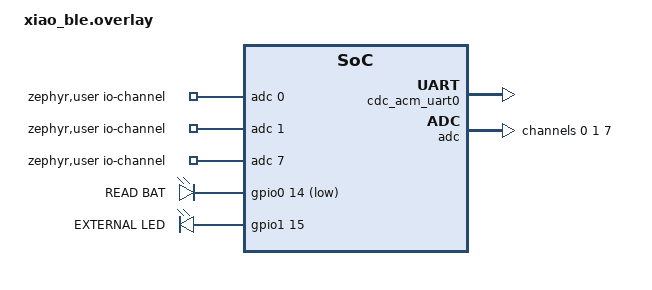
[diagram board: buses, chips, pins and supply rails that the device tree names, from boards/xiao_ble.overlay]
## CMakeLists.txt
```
#
#
#

#
# Options.
#

cmake_minimum_required(VERSION 3.20.0)

#
set(BOARD nrf52840dk_nrf52840)
# set(BOARD xiao_ble)

set(uav_operator GBR-OP-ABCD12345678)
set(uav_id ZZZZH1234567)
set(self_id CAA\ UAS\ 7068)
# ODID_UATYPE_AEROPLANE
set(odid_uatype ODID_UATYPE_NONE)
# ODID_CATEGORY_EU_UNDECLARED
set(odid_cat ODID_CATEGORY_EU_SPECIFIC)

## Added by Sandoche 
# Legacy DETs (suite 0x02, superseded): a46f (Context ID) and 73c6 (original "HHIT").
# set(det_ipv6 "0x20,0x01,0x00,0x30,0x3f,0xf8,0x04,0x02,0xa4,0x6f,0xb5,0x09,0xaf,0xce,0x2c,0xb0,0x00,0x00,0x00,0x00")
# set(det_ipv6 "0x20,0x01,0x00,0x30,0x3f,0xf8,0x04,0x02,0x73,0xc6,0x58,0x1c,0xcc,0xde,0x39,0x98,0x00,0x00,0x00,0x00")
# Active DET: RFC 9374 HHIT Suite 5 (EdDSA/cSHAKE128), deployed in DNS 2026-07-18.
set(det_ipv6 "0x20,0x01,0x00,0x30,0x3f,0xf8,0x04,0x05,0xd9,0x52,0x56,0x18,0xfb,0xc9,0xc3,0xcf,0x00,0x00,0x00,0x00")

# National/regional variations.
set(id_japan 0)
set(id_usa   0)

# Experimental.
set(spektrum   0)
set(batt_volts 0)

set(CMAKE_C_FLAGS   "-Wall -Wno-parentheses -Wno-deprecated-declarations")
set(CMAKE_CXX_FLAGS "-Wall -Wno-parentheses -Wno-deprecated-declarations")

#
# Build.
#

find_package(Zephyr REQUIRED HINTS $ENV{ZEPHYR_BASE})

project(remote_id_nrf52)

# Source files.

# Unix epoch (seconds) at configure time. The board has no RTC, so this is injected as the
# transmitter's real-time base: timestamps become ~real at flash without manual editing.
string(TIMESTAMP build_unix_time "%s" UTC)

configure_file(src/remote_id.h.in ${CMAKE_CURRENT_SOURCE_DIR}/src/remote_id.h)

set(c_sources src/opendroneid.c src/alt_unix_time.c)

set(cpp_sources src/main_nrf52.cpp src/gps2.cpp src/odid_bt.cpp)

if (${batt_volts})
  set(cpp_sources ${cpp_sources} src/battery.cpp)
endif()

if (${id_japan})
  set(cpp_sources ${cpp_sources} src/local.cpp)
endif()

if (${spektrum})
  set(cpp_sources ${cpp_sources} src/spektrum_i2c.cpp)
endif()

target_sources(app PRIVATE ${cpp_sources} ${c_sources})
```

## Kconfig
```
#
#

#config USB_DEVICE_PID
#	default USB_PID_CONSOLE_SAMPLE

source "Kconfig.zephyr"
```

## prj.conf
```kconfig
#
#
#

# So that we have some floating point support.
CONFIG_NEWLIB_LIBC=y

#CONFIG_USB_DEVICE_STACK=y
#CONFIG_USB_DEVICE_PRODUCT="Remote ID"
#CONFIG_USB_DEVICE_LOG_LEVEL_ERR=n
# 
#CONFIG_USB_DEVICE_VID=0x2fe3
#CONFIG_USB_DEVICE_PID=0x0004
# Emulate an FTDI.
# CONFIG_USB_DEVICE_VID=0x0403
# CONFIG_USB_DEVICE_PID=0x6001

CONFIG_LOG=n
# CONFIG_LOG_MODE_MINIMAL=y

CONFIG_SERIAL=y
CONFIG_CONSOLE=y
CONFIG_UART_CONSOLE=y
CONFIG_UART_INTERRUPT_DRIVEN=y
CONFIG_UART_LINE_CTRL=y
CONFIG_UART_USE_RUNTIME_CONFIGURE=y
CONFIG_STDOUT_CONSOLE=y

CONFIG_BT=y
CONFIG_BT_PERIPHERAL=n
CONFIG_BT_BROADCASTER=y
CONFIG_BT_OBSERVER=y
# CONFIG_BT_DEBUG_LOG=n

CONFIG_BT_CTLR_TX_PWR_PLUS_8=y
# CONFIG_BT_CTLR_TX_PWR_DYNAMIC_CONTROL=y

CONFIG_BT_EXT_ADV=y
CONFIG_BT_EXT_ADV_MAX_ADV_SET=3
# CONFIG_BT_CTLR=y
CONFIG_BT_CTLR_PHY_2M=n
CONFIG_BT_CTLR_PHY_CODED=y
CONFIG_BT_CTLR_ADV_EXT=y
# For message pack.
CONFIG_BT_CTLR_ADV_DATA_LEN_MAX=255

# For IDs with crypto auth.
#CONFIG_MBEDTLS_BUILTIN=y
#CONFIG_MBEDTLS_CFG_FILE="config-tls-generic.h"
#CONFIG_MBEDTLS_CIPHER_AES_ENABLED=y
#CONFIG_MBEDTLS_CIPHER_CCM_ENABLED=y
#CONFIG_MBEDTLS_CIPHER_MODE_CBC_ENABLED=y
#CONFIG_MBEDTLS_CIPHER=y
#CONFIG_MBEDTLS_MD=y
#CONFIG_CRYPTO=y
#CONFIG_CRYPTO_MBEDTLS_SHIM=y

#
CONFIG_FP16=y

# For reading the battery voltage.
CONFIG_ADC=y

# For the I2C slave.
# CONFIG_NRFX_TWIS1=y
CONFIG_STATIC_INIT_GNU=y


# PSA Crypto Ed25519 - nRF Security
CONFIG_NRF_SECURITY=y
CONFIG_PSA_CRYPTO_DRIVER_OBERON=y
CONFIG_PSA_WANT_ALG_PURE_EDDSA=y
CONFIG_PSA_WANT_KEY_TYPE_ECC_KEY_PAIR_IMPORT=y
CONFIG_PSA_WANT_ECC_TWISTED_EDWARDS_255=y

# Generate the drone signing key ON-DEVICE (not imported/hardcoded) and export only its public
# part. Ed25519 signing hashes with SHA-512 internally.
CONFIG_PSA_WANT_KEY_TYPE_ECC_KEY_PAIR_GENERATE=y
CONFIG_PSA_WANT_KEY_TYPE_ECC_PUBLIC_KEY=y
CONFIG_PSA_WANT_ALG_SHA_512=y
CONFIG_PSA_WANT_GENERATE_RANDOM=y

# --- Persistent PSA key storage (secure) --------------------------------------------------
# Makes the generated private key persist across reboots in encrypted storage, so it lives in
# secure storage instead of the firmware image. This block is the version-sensitive part of the
# nRF Connect SDK; adjust to match the `crypto/persistent_key_usage` sample of YOUR NCS version.
CONFIG_TRUSTED_STORAGE=y
CONFIG_HW_UNIQUE_KEY=y
CONFIG_HW_UNIQUE_KEY_RANDOM=y
CONFIG_FLASH=y
CONFIG_FLASH_MAP=y
CONFIG_NVS=y
CONFIG_SETTINGS=y
CONFIG_MPU_ALLOW_FLASH_WRITE=y

# RUNTIME STATUS (NCS v3.2.4): the build + boot are fine, but psa_generate_key() with a PERSISTENT
# lifetime returns -134 = PSA_ERROR_NOT_SUPPORTED (handled gracefully - the drone still emits). The
# PSA persistent-key / ITS backend is not fully wired yet. To enable it next time, align with the
# NCS `crypto/persistent_key_usage` sample; candidates to try (untested here):
#CONFIG_TRUSTED_STORAGE_BACKEND_AEAD=y
#CONFIG_HW_UNIQUE_KEY_WRITE_ON_CRYPTO_INIT=y
#CONFIG_SETTINGS_NVS=y
#CONFIG_PSA_WANT_ALG_HKDF=y
#CONFIG_PSA_WANT_ALG_GCM=y


CONFIG_HEAP_MEM_POOL_SIZE=16384
CONFIG_MBEDTLS_ENABLE_HEAP=y
CONFIG_MBEDTLS_HEAP_SIZE=8192


CONFIG_MAIN_STACK_SIZE=4096
CONFIG_SYSTEM_WORKQUEUE_STACK_SIZE=4096
```

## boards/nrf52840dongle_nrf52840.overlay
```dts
/*
 * SPDX-License-Identifier: Apache-2.0
 *
 * Copyright (c) 2022 Nordic Semiconductor ASA
 */


/ {
	zephyr,user {
		io-channels = <&adc 0>, <&adc 1>, <&adc 7>;
	};

	gpio_custom {
	  compatible = "gpio-leds";
	  status_led: status_led {
		gpios = <&gpio0 16 GPIO_ACTIVE_HIGH>;
		label = "EXTERNAL LED";
	  };
	};

	aliases {
	  statusled = &status_led;
	};
};

&zephyr_udc0 {
	cdc_acm_uart0 {
		compatible = "zephyr,cdc-acm-uart";
	};
};

&adc {
	#address-cells = <1>;
	#size-cells = <0>;

	channel@0 {
		reg = <0>;
		zephyr,gain = "ADC_GAIN_1_6";
		zephyr,reference = "ADC_REF_INTERNAL";
		zephyr,acquisition-time = <ADC_ACQ_TIME_DEFAULT>;
		zephyr,input-positive = <NRF_SAADC_AIN1>; /* P0.03 */
		zephyr,resolution = <12>;
	};

	channel@1 {
		reg = <1>;
		zephyr,gain = "ADC_GAIN_1_6";
		zephyr,reference = "ADC_REF_INTERNAL";
		zephyr,acquisition-time = <ADC_ACQ_TIME_DEFAULT>;
		zephyr,input-positive = <NRF_SAADC_VDD>;
		zephyr,resolution = <14>;
		zephyr,oversampling = <8>;
	};

	channel@7 {
		reg = <7>;
		zephyr,gain = "ADC_GAIN_1_5";
		zephyr,reference = "ADC_REF_VDD_1_4";
		zephyr,vref-mv = <750>;
		zephyr,acquisition-time = <ADC_ACQ_TIME_DEFAULT>;
		zephyr,input-positive = <NRF_SAADC_AIN6>; /* P0.30 */
		zephyr,input-negative = <NRF_SAADC_AIN7>; /* P0.31 */
		zephyr,resolution = <12>;
	};
};
```

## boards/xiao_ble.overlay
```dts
/* -*- tab-width: 4; mode: c; -*-
 *
 * Overlay for the Xiao nRF52.
 *
 */

/ {
	zephyr,user {
		io-channels = <&adc 0>, <&adc 1>, <&adc 7>;
	};

	gpio_custom {
	  compatible = "gpio-leds";
	  read_bat: read_bat {
		gpios = <&gpio0 14 GPIO_ACTIVE_LOW>;
		label = "READ BAT";
	  };
	  status_led: status_led {
		gpios = <&gpio1 15 GPIO_ACTIVE_HIGH>;
		label = "EXTERNAL LED";
	  };
	};

	aliases {
	  readbat = &read_bat;
	  statusled = &status_led;
	};
};

&zephyr_udc0 {
	cdc_acm_uart0 {
		compatible = "zephyr,cdc-acm-uart";
	};
};

&adc {
	#address-cells = <1>;
	#size-cells = <0>;

	channel@0 {
		reg = <0>;
		zephyr,gain = "ADC_GAIN_1_6";
		zephyr,reference = "ADC_REF_INTERNAL";
		zephyr,acquisition-time = <ADC_ACQ_TIME_DEFAULT>;
		zephyr,input-positive = <NRF_SAADC_AIN1>; /* P0.03 */
		zephyr,resolution = <12>;
	};

	channel@1 {
		reg = <1>;
		zephyr,gain = "ADC_GAIN_1_6";
		zephyr,reference = "ADC_REF_INTERNAL";
		zephyr,acquisition-time = <ADC_ACQ_TIME_DEFAULT>;
		zephyr,input-positive = <NRF_SAADC_VDD>;
		zephyr,resolution = <14>;
		zephyr,oversampling = <8>;
	};

	channel@7 {
		reg = <7>;
		zephyr,gain = "ADC_GAIN_1_6";
		zephyr,reference = "ADC_REF_INTERNAL";
		zephyr,acquisition-time = <ADC_ACQ_TIME_DEFAULT>;
		zephyr,input-positive = <NRF_SAADC_AIN7>; /* P0.31 */
		zephyr,resolution = <12>;
	};
};

/*
 * Overlay for TWI/IC2 Zephyr NCS implementation with nRFx TWIS Driver
 * Line references are used in the blog post and twis_node.txt
 */

&i2c1 {

  status = "disabled";
  sda-pin = <4>;
  scl-pin = <5>;
  interrupts = < 0x4 0x2 >;

  twis_device1:nRF52804@12 {
	label = "i2c nRF52840 addr a";
	reg = <0x12>;
  };

  twis_device2: nRF52840@0 {
	label = "i2c nRF52840 addr b";
	reg = <0x00>;
  };
};

&spi1 {
  status = "disabled";
};
```

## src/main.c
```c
#include <zephyr/kernel.h>
#include <zephyr/bluetooth/bluetooth.h>
#include <zephyr/bluetooth/hci.h>
#include <string.h>
#include "opendroneid.h"

// Définition de ton IPv6 brute (16 octets)
static const uint8_t ipv6_det = {
    0x20, 0x01, 0x00, 0x30, 0x3f, 0xf8, 0x04, 0x02, 
    0x01, 0x91, 0xab, 0x23, 0xcd, 0x45, 0xef, 0x67
};

static void bt_ready(int err)
{
    if (err) {
        printk("Erreur d'initialisation Bluetooth (err %d)\n", err);
        return;
    }
    printk("Bluetooth initialisé.\n");

    // 1. Préparation des données Basic ID
    ODID_BasicID_data basic_id;
    memset(&basic_id, 0, sizeof(ODID_BasicID_data));
    
    basic_id.UAType = ODID_UATYPE_HELICOPTER_OR_MULTIROTOR; // Type de drone (à adapter si besoin)
    basic_id.IDType = ODID_IDTYPE_SPECIFIC_SESSION_ID;      // Type 4 : Session ID spécifique (idéal pour IPv6/UUID)
    
    // Copie de ton IPv6 dans le champ UASID (qui fait 20 octets max)
    memcpy(basic_id.UASID, ipv6_det, sizeof(ipv6_det));

    // 2. Encodage du message OpenDroneID
    ODID_BasicID_encoded encoded_basic_id;
    memset(&encoded_basic_id, 0, sizeof(ODID_BasicID_encoded));
    encodeBasicIDMessage(&encoded_basic_id, &basic_id);

    // 3. Préparation du payload d'Advertising BLE
    // L'UUID 16-bit pour OpenDroneID (ASTM F3411) est 0xFFFA.
    // Dans le payload Service Data, les deux premiers octets sont l'UUID (Little Endian).
    uint8_t svc_data[2 + sizeof(ODID_BasicID_encoded)];
    svc_data = 0xFA; 
    svc_data = 0xFF; 
    memcpy(&svc_data, &encoded_basic_id, sizeof(ODID_BasicID_encoded));

    struct bt_data ad[] = {
        BT_DATA_BYTES(BT_DATA_FLAGS, (BT_LE_AD_GENERAL | BT_LE_AD_NO_BREDR)),
        BT_DATA(BT_DATA_SVC_DATA16, svc_data, sizeof(svc_data))
    };

    // 4. Lancement de l'émission (Advertising)
    err = bt_le_adv_start(BT_LE_ADV_NCONN, ad, ARRAY_SIZE(ad), NULL, 0);
    if (err) {
        printk("Erreur lors du démarrage de l'advertising (err %d)\n", err);
        return;
    }
    printk("Émission du DET en cours...\n");
}

int main(void)
{
    int err;
    printk("Démarrage de l'émulateur Remote ID...\n");

    err = bt_enable(bt_ready);
    if (err) {
        printk("Echec de l'activation Bluetooth (err %d)\n", err);
    }

    return 0;
}
```

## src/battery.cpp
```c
/* -*- tab-width: 2; mode: c; -*-
 *
 * A program for the nRF52840 to transmit ASTM F3411/ASD-STAN 4709-002/opendroneid 
 * remote identification signals over Bluetooth.
 * 
 * Copyright (c) 2023 Steve Jack
 *
 * Apache 2.0 licence
 *
 * Parts of this program are taken from samples which are
 * Copyright (c) Intel Corporation 
 * or
 * Copyright (c) Nordic Semiconductor
 *
 * Notes
 *
 * Needs a matching board overlay.
 *
 * This file typifies why I don't like Zephyr.
 * This should have taken 10 minutes. It took hours.
 * Poor documentation. Device tree. Fragile, opaque macros.
 * You have to find a sample that works, figure out how it
 * works and then extract the bits that you need (or just 
 * copy and hope). 
 *
 */

#include "odid_bt.h"

#include <zephyr/devicetree.h>
#include <zephyr/drivers/adc.h>

#if defined(CONFIG_BOARD_XIAO_BLE)
#define VBATT_CHANNEL            2
#define VBATT_CHANNEL_X          channel_7
static const float               calib_factor = 1510.0 / 510.0;
static const struct gpio_dt_spec read_bat = GPIO_DT_SPEC_GET(DT_ALIAS(readbat),gpios);
#elif defined(CONFIG_BOARD_NRF52840DONGLE_NRF52840)
#define VBATT_CHANNEL            1
#define VBATT_CHANNEL_X          channel_1
static const float               calib_factor = 1.0;
#else
#define VBATT_CHANNEL            1
#define VBATT_CHANNEL_X          channel_1
static const float               calib_factor = 1.0;
#endif

static const struct device      *adc_dev   = NULL;
static struct adc_dt_spec        vbatt_dt  = ADC_DT_SPEC_GET_BY_IDX(DT_PATH(zephyr_user),VBATT_CHANNEL);
// static struct adc_channel_cfg    vbatt_cfg = ADC_CHANNEL_CFG_DT(DT_CHILD(DT_NODELABEL(adc),VBATT_CHANNEL_X));
static struct adc_sequence       vbatt_seq;
static uint16_t                  results[4];

/*
 *
 */

float battery_voltage() {

  int        status;
  char       text[96];
  float      voltage = 0.5;
  int32_t    mV;
  static int status1, status2;

  if (!adc_dev) {

    if (adc_dev = DEVICE_DT_GET(DT_NODELABEL(adc))) {

      memset(results,0,sizeof(results));

      memset(&vbatt_seq,0,sizeof(vbatt_seq));
      vbatt_seq.channels     = 1 << vbatt_dt.channel_id;
      vbatt_seq.resolution   = vbatt_dt.resolution;
      vbatt_seq.oversampling = vbatt_seq.oversampling;
      vbatt_seq.buffer       = results;
      vbatt_seq.buffer_size  = sizeof(results);
    }
#if defined(CONFIG_BOARD_XIAO_BLE)
    gpio_pin_configure_dt(&read_bat,GPIO_OUTPUT_ACTIVE);
    gpio_pin_set_dt(&read_bat,1);
#endif
  }

  if (adc_dev) {

    if (status1 = adc_channel_setup(adc_dev,&vbatt_dt.channel_cfg)) {

      sprintf(text,"%s(): adc_channel_setup() returned %d",
              __func__,status1);
      txt_message(text,1,1,1);
    }

    if ((status2 = adc_read(adc_dev,&vbatt_seq)) == 0) {

      mV = results[0];

      if ((status = adc_raw_to_millivolts_dt(&vbatt_dt,&mV)) == 0) {
        voltage = calib_factor * 0.001 * (float) mV;
      } else {
        sprintf(text,"%s(): adc_raw_to_millivolts_dt(%u) returned %d, %u",
                __func__,(unsigned int) results[0],status,mV);
        txt_message(text,1,1,1);
        voltage = (float) ((double) results[0] * calib_factor);
      }

    } else {

      sprintf(text,"%s(): adc_read(%d) returned %d, (%d)",
              __func__,vbatt_dt.channel_id,status2,status1);
      txt_message(text,1,1,1);
    }
  }

  return voltage;
}

/*
 *
 */

/*
 *
 */
```

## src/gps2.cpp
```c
/* -*- tab-width: 2; mode: c; -*-
 *
 * A program for the nRF52840 to transmit ASTM F3411/ASD-STAN 4709-002/opendroneid 
 * remote identification signals over Bluetooth.
 * 
 * Copyright (c) 2023 Steve Jack
 *
 * Apache 2.0 licence
 *
 * Parts of this program are taken from samples which are
 * Copyright (c) Intel Corporation 
 * or
 * Copyright (c) Nordic Semiconductor
 *
 * Notes
 *
 *
 */

#pragma GCC diagnostic warning "-Wunused-variable"
#pragma GCC diagnostic ignored "-Wparentheses"
// #pragma GCC diagnostic ignored "-Wunused-but-set-variable"

#include "gps2.h"

#include <ctype.h>
#include <math.h>

#define BAUD_RATE      57600 // 9600 for initial configuration, 57600 thereafter.
#define GPS_RATE         200 // ms
#define RX_BUFFER_SIZE   512
#define TX_BUFFER_SIZE   128
#define CONFIG_PHASES     40

extern "C" {
  static void gps_rx_handler(const struct device *,void *);
  static void usb_rx_handler(const struct device *,void *);

  volatile void            *gps_dev2 = NULL;
  static volatile uint8_t   rx_buffer[RX_BUFFER_SIZE + 2];
  static volatile uint16_t  bg_rx_index = 0;
  static volatile uint32_t  rx_counter = 0;
};

/*
 *  I don't think that Zephyr actually calls this.
 *  Variable setup moved to begin().
 */

GPS2::GPS2() {

  return;
}

/*
 *
 */

void GPS2::begin(const struct device *uart,const struct device *usb_serial,const struct gpio_dt_spec *led) {

  int                 i;
  uint16_t            rate = GPS_RATE;
  uint32_t            baud = BAUD_RATE;
  struct uart_config  serial_config;
#if not GPS_PASSTHROUGH
  char                text[128];
#endif

  //
  // Initialise variables.
  //

  memset(parse_buffer,      0,sizeof(parse_buffer));
  memset((void *) rx_buffer,0,sizeof(rx_buffer));
  memset(&utc,              0,sizeof(utc));

  for (i = 0; i < MAX_SECTIONS + 1; ++i) {

    section[i] = parse_buffer;
  }

  parse_index   = max_parse_index   = 0;
  section_index = max_section_index = 0;
  
  // GPS commands.
  // Note that the payload indices below are offset by 4 from the Ublox literature.

  gps_protocols = 0x03; // Bit 0 Ublox, bit 1 NMEA.

  sprintf(nmea_cfg_uart1,"PUBX,41,1,%04x,%04x,%d,0",7,gps_protocols,(int) BAUD_RATE);

  memset(ubx_cfg_rate, 0,sizeof(ubx_cfg_rate));
  memset(ubx_cfg_prt,  0,sizeof(ubx_cfg_prt));
  memset(ubx_cfg_msg,  0,sizeof(ubx_cfg_msg));
  memset(ubx_cfg_nav5, 0,sizeof(ubx_cfg_nav5));
  memset(ubx_poll_nav5,0,sizeof(ubx_poll_nav5));

  ubx_cfg_rate[0]  = 0x06;
  ubx_cfg_rate[1]  = 0x08;
  ubx_cfg_rate[2]  = 0x06;
  ubx_cfg_rate[4]  = (uint8_t) (rate & 0xff);
  ubx_cfg_rate[5]  = (uint8_t) (rate >> 8);
  ubx_cfg_rate[6]  = 0x01;
  ubx_cfg_rate[8]  = 0x01;

  ubx_cfg_prt[0]   = 0x06;
  ubx_cfg_prt[2]   = 0x14;
  ubx_cfg_prt[4]   = 0x01;
  ubx_cfg_prt[8]   = 0xd0;
  ubx_cfg_prt[9]   = 0x08;
  ubx_cfg_prt[12]  = (uint8_t) (0xff &  baud);
  ubx_cfg_prt[13]  = (uint8_t) (0xff & (baud >>  8));
  ubx_cfg_prt[14]  = (uint8_t) (0xff & (baud >> 16));
  ubx_cfg_prt[16]  = 0x03;
  ubx_cfg_prt[18]  = gps_protocols;

  ubx_cfg_msg[0]   = 0x06;
  ubx_cfg_msg[1]   = 0x01;
  ubx_cfg_msg[2]   = 0x08;

  ubx_cfg_nav5[0]  = 0x06;
  ubx_cfg_nav5[1]  = 0x24;
  ubx_cfg_nav5[2]  = 0x24;
  ubx_cfg_nav5[4]  = 0x05;
  ubx_cfg_nav5[6]  = 0x07;
  ubx_cfg_nav5[7]  = 0x02;

  ubx_poll_nav5[0] = 0x06;
  ubx_poll_nav5[1] = 0x24;

  //
  // Initialise devices.
  //
  
  usb_dev    = (struct device *)       usb_serial;
  gps_dev    = (struct device *)       uart;
  gps_dev2   = (volatile void *)       uart;
  status_led = (struct gpio_dt_spec *) led;

  if (status_led) {

    gpio_pin_configure_dt(status_led,GPIO_OUTPUT_ACTIVE);
    gpio_pin_set_dt(status_led,0);
  }

  if ((!gps_dev)||(!usb_dev)) {
#if not GPS_PASSTHROUGH
    printk("%s(): No devices, aborting\n",__func__);
#endif
    return;
  }

  // USB
  
  status1 = uart_config_get(usb_dev,&serial_config);

  serial_config.baudrate  = 115200;
  serial_config.parity    = UART_CFG_PARITY_NONE;
  serial_config.data_bits = UART_CFG_DATA_BITS_8;
  serial_config.flow_ctrl = UART_CFG_FLOW_CTRL_NONE; 
  
  status2 = uart_configure(usb_dev,&serial_config);

#if GPS_PASSTHROUGH
  uart_irq_callback_user_data_set(usb_dev,usb_rx_handler,NULL);
  uart_irq_rx_enable(usb_dev);
#endif

  // GPS

  status1 = uart_config_get(gps_dev,&serial_config);
  
  serial_config.baudrate  = 9600;
  serial_config.parity    = UART_CFG_PARITY_NONE;
  serial_config.data_bits = UART_CFG_DATA_BITS_8;
  serial_config.flow_ctrl = UART_CFG_FLOW_CTRL_NONE; 
  status2 = uart_configure(gps_dev,&serial_config);

  uart_irq_callback_user_data_set(gps_dev,gps_rx_handler,NULL);
  uart_irq_rx_enable(gps_dev);

  return;
}

/*
 *
 */

int GPS2::foreground() {

  int             csum_OK = 1, reset_index = 0;
  char            text[128], *a;
  uint8_t         c, ck_a, ck_b;
  uint32_t        msecs;

  msecs = k_uptime_get_32();

  while (fg_index != bg_rx_index) {

    gpio_pin_set_dt(status_led,1);

    c = rx_buffer[fg_index];
#if GPS_PASSTHROUGH
    uart_poll_out(usb_dev,c);
#endif
    
    if (read_mode == 0) {

      if (c == '$') {         // Start of a NMEA message.

        read_mode = 1;

        nmea_checksum      = 0;
        calc_nmea_checksum = 0;

      } else if (c == 0xb5) { // Start of a Ublox message.

        read_mode = 2;
      } 
    }

    //

    if (read_mode == 1) { // NMEA

      switch (parse_buffer[parse_index] = c) {

      case 10: // LF

        sprintf(text,"%02X",nmea_checksum);

        a       = (char *) section[MAX_SECTIONS];
        csum_OK = ((text[0] == a[0])&&(text[1] == a[1])) ? 1: 0;

        if (csum_OK) {

          ++nmea_messages;
          
          parse_nmea(section_index);
          last_nmea = msecs;
          
        } else {

          ++nmea_errors;
        }

        reset_index = 1;
        break;

      case 13: // CR

        parse_buffer[parse_index] = 0;
        break;

      case ',':

        if (calc_nmea_checksum) {
          nmea_checksum ^= c;
        }

        section[section_index++]  = &parse_buffer[parse_index + 1];
        parse_buffer[parse_index] = 0;

        if (section_index > max_section_index) {
          max_section_index = section_index;
        }

        if (section_index > (MAX_SECTIONS - 1)) {
          reset_index = 1;
        }
        
        break;

      case '*':

        parse_buffer[parse_index] = 0;
        section[MAX_SECTIONS]     = &parse_buffer[parse_index + 1];
        calc_nmea_checksum        = 0;
        break;

      case '$':
        
        calc_nmea_checksum = 1;
        break;

      default:

        if (calc_nmea_checksum) {
          nmea_checksum ^= c;
        }

        break;
      }

      ++parse_index;
      
    } // NMEA

    if (read_mode == 2) { // Ublox

      parse_buffer[parse_index] = c;

      if (parse_index == 4) {

        ublox_length = 6 + (int) c;
      }

      if (parse_index == (ublox_length + 1)) {

        ublox_checksum(parse_buffer,&ck_a,&ck_b);

        csum_OK = ((parse_buffer[parse_index - 1] == ck_a)&&(parse_buffer[parse_index] == ck_b)) ? 1: 0;

        if (csum_OK) {

          ++ublox_messages;

          parse_ublox();
          last_ublox = msecs;

        } else {

          ++ublox_errors;
        }

        reset_index  = 1;
        ublox_length = 6;
      }

      ++parse_index;
     
    } // Ublox

    if (parse_index > max_parse_index) {
      max_parse_index = parse_index;
    }

    if ((reset_index)||(parse_index > (PARSE_BUFFER_SIZE - 8))) {

      read_mode     = 0;
      reset_index   = 0;
      parse_index   = 0;
      section_index = 1;
    }

    //

    if (++fg_index >= RX_BUFFER_SIZE) {
      fg_index = 0;
    }

    gpio_pin_set_dt(status_led,0);    
  }

  if ((msecs - last_config) > 249) {
    
    if (config_phase < CONFIG_PHASES) {
      configure(0);
    }
#if 0
    sprintf(text,"%7u %7u",msecs,rx_counter);
    txt_message(text);
#endif
  }

  if ((config_phase >= CONFIG_PHASES)&&
      ((msecs - last_nmea)   > 9999)&&
      ((msecs - last_config) > 4999)) {
    configure(1);
  }
  
  return 0;
}

/*
 *
 */

int GPS2::txt_message(const char *text) {

  return txt_message(text,1,1,2);
}

//

int GPS2::txt_message(const char *text,
                      const int message,const int messages,const int severity) {

  int  len;
  char text2[TX_BUFFER_SIZE], tx_buffer[TX_BUFFER_SIZE];

  if ((len = strlen(text)) > (TX_BUFFER_SIZE - 24)) {

    return -1;
  }

  sprintf(text2,"GNTXT,%02d,%02d,%02d,%s",messages,message,severity,text);
  nmea_message(text2,tx_buffer,sizeof(tx_buffer));

  len = strlen(tx_buffer);

  for (int i = 0; i < len; ++i) {

    uart_poll_out(usb_dev,tx_buffer[i]);
#if TXT_BOTH_PORTS
    uart_poll_out(gps_dev,tx_buffer[i]);
#endif
  }

  return 0;
}

/*
 *
 */

void GPS2::reset_flags() {

  nmea_flags  = 0;
  ublox_flags = 0;
  
  return;
}

/*
 *
 */

int GPS2::configure(int override) {

  int                rate;
  char               text[128];
  uint32_t           msecs;
  struct {char    msg_name[4];
          uint8_t msg_class; 
          uint8_t msg_id; 
          uint8_t msg_rate;} 
                     nmea_msgs[16] =  {{"DTM", 0xf0, 0x0a,  0}, {"GBS", 0xf0, 0x09,  0},
                                       {"GGA", 0xf0, 0x00,  1}, {"GLL", 0xf0, 0x01,  0},
                                       {"GPQ", 0xf0, 0x40,  0}, {"GRS", 0xf0, 0x06,  0},
                                       {"GSA", 0xf0, 0x02, 10}, {"GST", 0xf0, 0x07,  0},
                                       {"GSV", 0xf0, 0x03,  0}, {"RMC", 0xf0, 0x04,  1},
                                       {"THS", 0xf0, 0x0e,  0}, {"TXT", 0xf0, 0x41, 10},
                                       {"VTG", 0xf0, 0x05,  0}, {"ZDA", 0xf0, 0x08,  0},
                                       {"",    0x00, 0x00,  0}, {"",    0x00, 0x00,  0}},
                     ublox_msgs[8]  = {{"",    0x01, 0x04, 10}, {"",    0x01, 0x02,  1},
                                       {"",    0x01, 0x06,  1}, {"",    0x01, 0x03,  1},
                                       {"",    0x01, 0x21,  1}, {"",    0x01, 0x12,  1},
                                       {"",    0x00, 0x00,  0}, {"",    0x00, 0x00,  0}};   
  //

  if (override) {

    config_phase = override;
  }

  msecs = k_uptime_get_32();

  if ((msecs - last_config) < 100) {

    return 0;
  }
  
  last_config = msecs;

  switch (config_phase) {

  case  1:
    set_uart_baud(gps_dev,9600);
    break;

  case  2:
    config_subphase = 0;

  case  3: case  4: case  5: case  6:
  case  7: case  8: case  9: case 10:
  case 11: case 12: case 13: case 14:
  case 15: case 16: case 17:

    if (config_subphase < 16) {

      if (nmea_msgs[config_subphase].msg_name[0]) {

        rate = nmea_msgs[config_subphase].msg_rate;
        sprintf(text,"PUBX,40,%s,%d,%d,%d,%d,%d,0",
                nmea_msgs[config_subphase].msg_name,
                rate,rate,rate,rate,rate);
        nmea_command(text);
      }

      ++config_subphase;
    }

    break;

  case 20:
    config_subphase = 0;

  case 21: case 22: case 23: case 24:
  case 25: case 26: case 27:

    if (config_subphase < 8) {

      if (ublox_msgs[config_subphase].msg_class) {
        
        GPS2::ubx_cfg_msg[4] = ublox_msgs[config_subphase].msg_class;
        GPS2::ubx_cfg_msg[5] = ublox_msgs[config_subphase].msg_id;

        for (int j = 0; j < 6; ++j) {

          GPS2::ubx_cfg_msg[6 + j] = (gps_protocols & 0x01) ? ublox_msgs[config_subphase].msg_rate: 0;
        }

        ublox_command(GPS2::ubx_cfg_msg);
      }

      ++config_subphase;
    }
    break;

  case 30:
    ublox_command(ubx_cfg_nav5);
    break;

  case 32:
    ubx_cfg_prt[4] = 0x02;
    ublox_command(ubx_cfg_prt);
    break;

  case 33:
    // The baud rate change is fragile.
    // Be careful changing it.
    ubx_cfg_prt[4] = 0x01;
    ublox_command(ubx_cfg_prt);

    k_sleep(K_MSEC(50));

    set_uart_baud(gps_dev,BAUD_RATE);
    break;
    
  case 36:
    ublox_command(ubx_cfg_rate);
    break;

  default:
    break;
  }

  if (config_phase < CONFIG_PHASES) {
    ++config_phase;
  }
  
  return config_phase;
}

//

void GPS2::set_uart_baud(device *uart,int baud_rate) {

  char text[128];
  
  uart_irq_rx_disable(uart);

  status3 = uart_config_get(uart,&serial_config);
  serial_config.baudrate = baud_rate;
  status4 = uart_configure(uart,&serial_config);

  uart_irq_rx_enable(uart);
  uart_config_get(uart,&serial_config);

  sprintf(text,"GPS2::%s(%d): %d, %d",__func__,
          baud_rate,status4,serial_config.baudrate);;
  txt_message(text);

  return;
}

/*
 *  
 *  $GNGGA,200842.00,1212.12345,N,12312.12345,W,1,06,1.30,33.5,M,47.9,M,,*6C
 *  $GNRMC,200843.00,A,1212.12345,N,12312.12345,W,0.618,,160818,,,A*7B
 *  $GNGSA,A,3,09,02,06,23,05,29,,,,,,,2.89,1.30,2.59*11
 *
 *  This is here mostly because it's useful when debugging the serial link to
 *  turn the Ublox off and see text messages (and because I like NMEA).
 *
 */

int GPS2::parse_nmea(int section_index) {

  // GGA

  if ((rx_buffer[3] == 'G')&&(rx_buffer[4] == 'G')&&(rx_buffer[5] == 'A')&&
      (section_index > 10)) {

    nmea_flags |= 0x01;

    // Time
    
    if (*section[1]) {
      strncpy(zulu_s,(char *) section[1],11);
    }

    // Lat. and Long.

    if (*section[2]) {
      strncpy(latitude_s,(char *) section[2],15);
    }    
    
    if (*section[4]) {
      strncpy(longitude_s,(char *) section[4],15);
    }
    
    // Altitude

    if (*section[9]) {
      strncpy(alt_msl_m_s,(char *) section[9],7);
    }

    return 1;
  }

  // RMC

  if ((rx_buffer[3] == 'R')&&(rx_buffer[4] == 'M')&&(rx_buffer[5] == 'C')&&
      (section_index > 10)) {

    nmea_flags |= 0x02;

    // Speed and heading

    if (*section[7]) {
      strncpy(speed_kn_s,(char *) section[7],7);
    }

    if (*section[8]) {
      strncpy(heading_s,(char *) section[8],7);
    }

    return 1;
  }

  if ((rx_buffer[3] == 'G')&&(rx_buffer[4] == 'S')&&(rx_buffer[5] == 'A')&&
      (section_index >= 17)) {

    // Dilution of Precision

    if (*section[16]) {
      strncpy(hdop_s,(char *) section[16],7);
    }

    if (*section[17]) {
      strncpy(vdop_s,(char *) section[17],7);
    }

    return 1;
  }

  return 0;
}

 /*
 *
 */

int GPS2::parse_ublox() {

  uint16_t length;
  union {int32_t  i32;
         uint32_t u32;} 
           u2i;

  length = parse_buffer[4] | (((uint16_t) parse_buffer[5]) << 8);

  switch (parse_buffer[2]) {

  case 0x01:

    if (parse_buffer[3] < 16) {

      ublox_flags |= (0x01 << parse_buffer[3]);
    }

    switch (parse_buffer[3]) {

    case 0x02: // POSLLH

      u2i.u32     =  ((uint32_t) parse_buffer[10]) | 
                    (((uint32_t) parse_buffer[11]) <<  8) |
                    (((uint32_t) parse_buffer[12]) << 16) |
                    (((uint32_t) parse_buffer[13]) << 24);
      longitude_u = u2i.i32;
      longitude_d = (double) longitude_u / 10000000.0;
      east        = (longitude_u < 0) ? 'W': 'E';
      
      u2i.u32     =  ((uint32_t) parse_buffer[14]) | 
                    (((uint32_t) parse_buffer[15]) <<  8) |
                    (((uint32_t) parse_buffer[16]) << 16) |
                    (((uint32_t) parse_buffer[17]) << 24);
      latitude_u  = u2i.i32;
      latitude_d  = (double) latitude_u / 10000000.0;
      north       = (latitude_u < 0) ? 'S': 'N';

      u2i.u32        =  ((uint32_t) parse_buffer[22]) | 
                       (((uint32_t) parse_buffer[23]) <<  8) |
                       (((uint32_t) parse_buffer[24]) << 16) |
                       (((uint32_t) parse_buffer[25]) << 24);
      alt_msl_mm     = u2i.i32;
      altitude_msl_m = 0.001 * (float) alt_msl_mm;
      break;

    case 0x03: // STATUS

      break;

    case 0x04: // DOP

      vdop_u      =  ((uint16_t) parse_buffer[16]) | 
                    (((uint16_t) parse_buffer[17]) <<  8);
      vdop_f      = 0.01 * (float) vdop_u;
      hdop_u      =  ((uint16_t) parse_buffer[18]) | 
                    (((uint16_t) parse_buffer[19]) <<  8);
      hdop_f      = 0.01 * (float) hdop_u;
      break;

    case 0x06: // SOL

      fix        = parse_buffer[16];
      satellites = parse_buffer[53];
      break;

    case 0x12: // VELNED

      u2i.u32         =  ((uint32_t) parse_buffer[10]) | 
                        (((uint32_t) parse_buffer[11]) <<  8) |
                        (((uint32_t) parse_buffer[12]) << 16) |
                        (((uint32_t) parse_buffer[13]) << 24);
      vel_N_cm        = u2i.i32;

      u2i.u32         =  ((uint32_t) parse_buffer[14]) | 
                        (((uint32_t) parse_buffer[15]) <<  8) |
                        (((uint32_t) parse_buffer[16]) << 16) |
                        (((uint32_t) parse_buffer[17]) << 24);
      vel_E_cm        = u2i.i32;

      u2i.u32         =  ((uint32_t) parse_buffer[18]) | 
                        (((uint32_t) parse_buffer[19]) <<  8) |
                        (((uint32_t) parse_buffer[20]) << 16) |
                        (((uint32_t) parse_buffer[21]) << 24);
      vel_D_cm        = u2i.i32;

      alt_speed_3d_cm = sqrt((double) ((vel_N_cm * vel_N_cm) +
                                       (vel_E_cm * vel_E_cm) + 
                                       (vel_D_cm * vel_D_cm)));
      speed_kn_3d     = 0.0194384 * alt_speed_3d_cm;

      speed_3d_cm     =  ((uint32_t) parse_buffer[22]) | 
                        (((uint32_t) parse_buffer[23]) <<  8) |
                        (((uint32_t) parse_buffer[24]) << 16) |
                        (((uint32_t) parse_buffer[25]) << 24);

      speed_2d_cm     =  ((uint32_t) parse_buffer[26]) | 
                        (((uint32_t) parse_buffer[27]) <<  8) |
                        (((uint32_t) parse_buffer[28]) << 16) |
                        (((uint32_t) parse_buffer[29]) << 24);
      speed_kn        = 0.0194384 * (float) speed_2d_cm;

      u2i.u32         =  ((uint32_t) parse_buffer[30]) | 
                        (((uint32_t) parse_buffer[31]) <<  8) |
                        (((uint32_t) parse_buffer[32]) << 16) |
                        (((uint32_t) parse_buffer[33]) << 24);
      heading_u       = u2i.i32;
      heading         = heading_u / 100000L;

      break;

    case 0x21: // TIMEUTC

      ublox_flags |= 0x8000;

      if (parse_buffer[25] & 0x04) {

        utc.tm_year = (parse_buffer[18] + (((uint16_t) parse_buffer[19]) << 8)) - 1900;
        utc.tm_mon  =  parse_buffer[20] - 1;
        utc.tm_mday =  parse_buffer[21];
        utc.tm_hour =  parse_buffer[22];
        utc.tm_min  =  parse_buffer[23];
        utc.tm_sec  =  parse_buffer[24];

        u2i.u32 =   ((uint32_t) parse_buffer[14]) | 
                   (((uint32_t) parse_buffer[15]) <<  8) |
                   (((uint32_t) parse_buffer[16]) << 16) |
                   (((uint32_t) parse_buffer[17]) << 24);
        csecs   = u2i.i32 / 10000000L;
      }
      break;

    default:
      break;
    }

    break;

  case 0x06:

    switch (parse_buffer[3]) {

    case 0x24:
      break;

    default:
      break;
    }

    break;

  default:
    break;
  }

  return 0;
}

 /*
 *
 */

int GPS2::send(const uint8_t *buffer,int length) {

  int i;

  for (i = 0; i < length; ++i) {

    uart_poll_out(gps_dev,buffer[i]);
  }

  return i;
}

/*
 *
 */

int GPS2::nmea_command(const char *message) {

  int  len;
  char tx_buffer[TX_BUFFER_SIZE];

  if ((len = nmea_message(message,tx_buffer,TX_BUFFER_SIZE)) > 0) {

    send((uint8_t *) tx_buffer,len);
  }
  
  return len;
}

int GPS2::nmea_message(const char *message,char *buffer,int buffer_size) {

  int      i, len;
  uint16_t checksum;

  buffer[0] = 0;
  len       = strlen(message);

  if (len > (buffer_size - 8)) {

    return -1;
  }

  for (checksum = 0, i = 0; i < len; ++i) {

    checksum ^= (uint8_t) message[i];
  }

  sprintf(buffer,"$%s*%02X\r\n",message,checksum);

  return strlen(buffer);
}

/*
 *
 */

int GPS2::ublox_command(const uint8_t *command) {

  int  i, len;
  uint8_t ck_a = 0, ck_b = 0, tx_buffer[TX_BUFFER_SIZE];

  len = command[2] + 4;
  
  if (len > (TX_BUFFER_SIZE - 6)) {

    return -1;
  }

  tx_buffer[0] = 0xb5;
  tx_buffer[1] = 0x62;

  for (i = 0; i < len; ++i) {

    tx_buffer[2 + i] = command[i];
  }

  ublox_checksum(tx_buffer,&ck_a,&ck_b);

  tx_buffer[len + 2] = ck_a;
  tx_buffer[len + 3] = ck_b;

  send(tx_buffer,len + 4);

  return 0;
}

/*
 *
 */

void GPS2::ublox_checksum(uint8_t *buffer,uint8_t *ck_a,uint8_t *ck_b) {

  int i, len;

  *ck_a = *ck_b = 0;
  
  len =  4 + buffer[4]; // + (((uint16_t) buffer[5]) << 8)

  for (i = 0; i < len; ++i) {

    *ck_a += buffer[2 + i];
    *ck_b += *ck_a;
  }

  return;
} 

/*
 *
 */

void gps_rx_handler(const struct device *gps_uart,void *a) {

  uint8_t c;
  
  ++rx_counter;

  if (!uart_irq_update(gps_uart)) {

    return;
  }

  while (uart_irq_rx_ready(gps_uart)) {

    uart_fifo_read(gps_uart,&c,1);

    rx_buffer[bg_rx_index] = c;
    
    if (++bg_rx_index >= RX_BUFFER_SIZE) {
      bg_rx_index = 0;
    }
  }

  return;
}

/*
 *
 */

#if GPS_PASSTHROUGH

void usb_rx_handler(const struct device *usb_serial,void *a) {

  uint8_t c;

  if (!uart_irq_update(usb_serial)) {

    return;
  }

  while (uart_irq_rx_ready(usb_serial)) {

    uart_fifo_read(usb_serial,&c,1);
    uart_poll_out((device *) gps_dev2,c);
  }

  return;
}

#endif

/*
 *
 */
```

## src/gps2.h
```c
/* -*- tab-width: 2; mode: c; -*-
 *
 * A program for the nRF52840 to transmit ASTM F3411/ASD-STAN 4709-002/opendroneid 
 * remote identification signals over Bluetooth.
 * 
 * Copyright (c) 2023 Steve Jack
 *
 * Apache 2.0 licence
 *
 * Parts of this program are taken from samples which are
 * Copyright (c) Intel Corporation 
 * or
 * Copyright (c) Nordic Semiconductor
 *
 */

#ifndef RID_GPS2_H
#define RID_GPS2_H

#include "remote_id.h"

#include <zephyr/usb/usb_device.h>
#include <zephyr/drivers/uart.h>
#include <zephyr/drivers/gpio.h>

#define PARSE_BUFFER_SIZE 256
#define MAX_SECTIONS       24

//

class GPS2 {

 public:
                        GPS2();
  void                  begin(const struct device *,const struct device *,const struct gpio_dt_spec *);
  int                   foreground(void);
  int                   txt_message(const char *);
  int                   txt_message(const char *,const int,const int,const int);
  void                  reset_flags(void);

  // These are public for debugging.
  int                   max_parse_index = 0, max_section_index = 0,
                        config_phase = 1;
  // And these are public because they are the outputs.                           // Source
  char                  latitude_s[16], longitude_s[16],                          // GGA
                        north = 'N', east = 'E',                                  // POSLLH
                        alt_msl_m_s[8], zulu_s[12],                               // GGA
                        speed_kn_s[8], heading_s[8],                              // RMC
                        hdop_s[8], vdop_s[8];                                     // GSA
  int                   heading = 0,                                              // VELNED
                        satellites = 0,                                           // SOL
                        csecs = 0;                                                // TIMEUTC
  float                 speed_kn = 0, speed_kn_3d = 0, altitude_msl_m = 0.0,      // POSLLH
                        hdop_f = 99.99, vdop_f = 99.99;                           // DOP
  double                latitude_d = 0.0, longitude_d = 0.0,                      // POSLLH
                        alt_speed_3d_cm = 0.0;
  uint8_t               fix = 0;                                                  // SOL
  uint16_t              nmea_flags = 0, ublox_flags = 0,
                        hdop_u = 0, vdop_u = 0;                                   // DOP
  int32_t               alt_msl_mm = 0,                                           // POSLLH
                        vel_N_cm = 0, vel_E_cm = 0, vel_D_cm = 0;                 // VELNED 
  uint32_t              speed_3d_cm = 0, speed_2d_cm = 0,                         // VELNED
                        last_nmea  = 0, nmea_messages  = 0, nmea_errors  = 0, 
                        last_ublox = 0, ublox_messages = 0, ublox_errors = 0;
  struct tm             utc;                                                      // TIMEUTC

 private:

  int                   send(const uint8_t *,int);
  int                   configure(int);
  void                  set_uart_baud(device *,int);
  int                   parse_nmea(int);
  int                   parse_ublox(void);
  int                   nmea_command(const char *);
  int                   nmea_message(const char *,char *,int);
  int                   ublox_command(const uint8_t *);
  void                  ublox_checksum(uint8_t *,uint8_t *,uint8_t *);

  int                   parse_index = 0, section_index = 0, read_mode = 0,
                        status1 = 0, status2 = 0, status3 = 0, status4 = 0,
                        config_subphase = 24,
                        calc_nmea_checksum = 0, ublox_length = 6;
  char                  nmea_cfg_uart1[32];
  uint8_t               parse_buffer[PARSE_BUFFER_SIZE], *section[MAX_SECTIONS + 1],
                        gps_protocols,
                        ubx_poll_nav5[6], ubx_cfg_rate[16],
                        ubx_cfg_prt[32],  ubx_cfg_msg[16], ubx_cfg_nav5[48];
  int32_t               latitude_u = 0, longitude_u = 0,                          // POSLLH
                        heading_u = 0;                                            // VELNED
  uint16_t              nmea_checksum = 0, fg_index = 0;
  uint32_t              last_config = 0;
  struct device        *gps_dev = NULL, *usb_dev = NULL;
  struct uart_config    serial_config;
  struct gpio_dt_spec  *status_led = NULL;
};

#endif // RID_GPS2_H
```

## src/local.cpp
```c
/* -*- tab-width: 2; mode: c; -*-
 *
 * A program for the nRF52840 to transmit ASTM F3411/ASD-STAN 4709-002/opendroneid 
 * remote identification signals over Bluetooth.
 * 
 * This file contains the code specific to regional/national variations 
 * on the standards.
 * 
 * Copyright (c) 2023 Steve Jack
 *
 * Apache 2.0 licence
 *
 * Parts of this program are taken from samples which are
 * Copyright (c) Intel Corporation 
 * or
 * Copyright (c) Nordic Semiconductor
 *
 * Notes
 *
 * The cryptography for the Japanese ID is probably wrong, but shouldn't be far off.
 * The English translation of the specification for the Japanese ID is available at -
 * https://www.mlit.go.jp/koku/content/001582250.pdf
 *
 * There is a slight conflict in the specification over the tag length, 12 or 16?
 *
 * TINYCRYPT will only do a 13 byte nonce in CCM mode and is therefore useless for Japanese IDs.
 *
 *
 */

#include "remote_id.h"

#include <zephyr/crypto/crypto.h>

#if defined(CONFIG_CRYPTO_TINYCRYPT_SHIM)
#define CRYPTO_DRV_NAME      CONFIG_CRYPTO_TINYCRYPT_SHIM_DRV_NAME
#elif defined(CONFIG_CRYPTO_MBEDTLS_SHIM)
#define CRYPTO_DRV_NAME      CONFIG_CRYPTO_MBEDTLS_SHIM_DRV_NAME
#else
#warning "CRYPTO_DRV_NAME not set"
#endif

static uint32_t              crypto_dev_flags = 0;
static const struct device  *crypto_dev = NULL;
#if ID_JAPAN
static struct cipher_ctx     japan_ctx;
static const int             japan_key_len    = 16, //
                             japan_nonce_len  = 12, // Specification 3.(2)
                             japan_tag_len    = 12; //
#endif

/*
 *
 */

int crypto_init(uint8_t *key) {

  int  status = 0;
  char text[128];

#if ID_JAPAN
  memset(&japan_ctx,0,sizeof(japan_ctx));

  japan_ctx.keylen                         = japan_key_len;
  japan_ctx.key.bit_stream                 = key;
  japan_ctx.mode_params.ccm_info.tag_len   = japan_tag_len;
  japan_ctx.mode_params.ccm_info.nonce_len = japan_nonce_len;
  japan_ctx.flags                          = CAP_RAW_KEY | CAP_SYNC_OPS | CAP_SEPARATE_IO_BUFS;
#endif

  if (!(crypto_dev = device_get_binding(CRYPTO_DRV_NAME))) {
    sprintf(text,"%s(): %s not found",__func__,CRYPTO_DRV_NAME);
    txt_message(text,1,1,0);
    return -1;
  }

  if (!device_is_ready(crypto_dev)) {
    sprintf(text,"%s(): Crypto device %08x not ready",__func__,
            (unsigned int) crypto_dev);
    txt_message(text,1,1,0);
    return -1;
  }

  crypto_dev_flags = crypto_query_hwcaps(crypto_dev);  

  return status;
}

#if ID_JAPAN

/*
 *
 */

int auth_japan(ODID_UAS_Data *UAS_data,ODID_Message_encoded *messages_enc,uint8_t *iv) {

  int                          j, status = 0, length = 0;
  const int                    max_cipher_len = 128;
  char                        *text;
  uint8_t                     *plain_text, cipher_text[160],
                               add_data[4], nonce[16], *tag, *auth,
                              *u8;
  uint16_t                     u16;
  uint32_t                     u32;
  struct cipher_pkt            cipher_packet;
  struct cipher_aead_pkt       aead_packet;
  ODID_Location_encoded       *location_enc;
  ODID_Auth_encoded_page_zero *auth_enc;

  // Set all the pointers.

  text        = (char *) cipher_text;
  tag         = &cipher_text[max_cipher_len];
  add_data[0] = 0;
  
  plain_text   = (uint8_t *)                      messages_enc;
  auth_enc     = (ODID_Auth_encoded_page_zero *) &messages_enc[3];
  location_enc = (ODID_Location_encoded *)       &messages_enc[2];
  auth         = &auth_enc->AuthData[1];
  u8           = cipher_text;

  //
  
  encodeAuthMessage((ODID_Auth_encoded *) auth_enc,&UAS_data->Auth[0]);

  memset(&cipher_packet,0,sizeof(cipher_packet));
  cipher_packet.in_buf      = plain_text;
  cipher_packet.in_len      = 4 * ODID_MESSAGE_SIZE;
  cipher_packet.out_buf_max = max_cipher_len;
  cipher_packet.out_buf     = cipher_text;

  memset(&aead_packet,0,sizeof(aead_packet));
  aead_packet.ad     = add_data;
  aead_packet.ad_len = 0;
  aead_packet.pkt    = &cipher_packet;
  aead_packet.tag    = tag;
  
  u16 = location_enc->TimeStamp;
  u32 = auth_enc->Timestamp;

  memset(nonce,0,sizeof(nonce));
  memcpy(nonce,iv,6);
  u8           = (uint8_t *) &location_enc->TimeStamp;
  nonce[j = 6] = u8[0];
  nonce[++j]   = u8[1];
  u8           = (uint8_t *) &auth_enc->Timestamp;
  nonce[++j]   = u8[0];
  nonce[++j]   = u8[1];
  nonce[++j]   = u8[2];
  nonce[++j]   = u8[3];

  if (crypto_dev) {

    if (status = cipher_begin_session(crypto_dev,&japan_ctx,CRYPTO_CIPHER_ALGO_AES,
                                      CRYPTO_CIPHER_MODE_CCM,CRYPTO_CIPHER_OP_ENCRYPT)) {
      sprintf(text,"%s(): cipher_begin_session() returned %d",__func__,status);
      txt_message(text,1,1,1);
    
    } else {

      if (status = cipher_ccm_op(&japan_ctx,&aead_packet,nonce)) {

        sprintf(text,"%s(): cipher_ccm_op() returned %d, %04x %04x",
                __func__,status,crypto_dev_flags,japan_ctx.flags);
        txt_message(text,1,1,1);

      } else {
#if 0
        for (int i = 0; i < japan_tag_len; ++i) {
          sprintf(&text[i * 3],"%02x ",tag[i]);
        }

        txt_message(text);
#endif
        length = cipher_packet.out_len;
        memcpy(auth,tag,japan_tag_len);
      }
 
      cipher_free_session(crypto_dev,&japan_ctx);
    }
  }

  return length;
}

#endif

/*
 *
 */
```

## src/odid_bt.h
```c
/* -*- tab-width: 2; mode: c; -*-
 *
 * A program for the nRF52840 to transmit ASTM F3411/ASD-STAN 4709-002/opendroneid 
 * remote identification signals over Bluetooth.
 * 
 * Copyright (c) 2023 Steve Jack
 *
 * Apache 2.0 licence
 *
 * Parts of this program are taken from samples which are
 * Copyright (c) Intel Corporation 
 * or
 * Copyright (c) Nordic Semiconductor
 *
 */

#ifndef RID_ODID_BT_H
#define RID_ODID_BT_H

#include "remote_id.h"

#include <zephyr/drivers/gpio.h>

#include <zephyr/bluetooth/bluetooth.h>
#include <zephyr/bluetooth/conn.h>
#include <zephyr/bluetooth/gatt.h>
#include <zephyr/bluetooth/uuid.h>

//

class RID_open {

 public:

                            RID_open();
  int                       begin(const struct gpio_dt_spec *,const char *,ODID_UAS_Data *,
                                  struct bt_le_ext_adv_info *);
  int                       foreground(ODID_UAS_Data *);

  // These are public for debugging.
  int                       bt4_ad_phase = 0, bt5_ad_phase = 0;
  uint8_t                   msg_counter[16];
  uint32_t                  counter_4 = 0, counter_5 = 0;

 private:

  int                       update_message(int *,ODID_UAS_Data *UAS_data);

  int                       ext_records = 0;
  uint8_t                   pack_buffer[256], batt_buffer[8];
  uint8_t                  *odid_enc_bt4, *odid_seq_bt4, bt4_adv_buffer[36], *odid_seq_bt5;
  uint32_t                  last_bt4_advert = 0, last_bt5_advert = 0;
  struct gpio_dt_spec      *status_led; 
  struct bt_le_adv_param    bt4_adv_param, bt5_adv_param;
  struct bt_data            bt4_data[2], bt5_data[5];         
  struct bt_le_ext_adv     *bt5_advert;
#if BATT_VOLTS
  union {__fp16   f16;
         uint16_t u16;}     batt_volt;
#endif

  static const uint8_t      odid_uuid_l, odid_uuid_h, batt_uuid_l, batt_uuid_h;

  ODID_Message_encoded     *pack_encoded   =  NULL;
  ODID_BasicID_encoded     *basicID_enc[2] = {NULL, NULL};
  ODID_Location_encoded    *location_enc   =  NULL;
  ODID_System_encoded      *system_enc     =  NULL;
  ODID_OperatorID_encoded  *operatorID_enc =  NULL;
  ODID_SelfID_encoded      *selfID_enc     =  NULL;
  ODID_Auth_encoded        *auth_enc[7]    = {NULL, NULL};
};

#endif
```

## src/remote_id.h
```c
/* -*- tab-width: 2; mode: c; -*-
 *
 * A program for the nRF52840 to transmit ASTM F3411/ASD-STAN 4709-002/opendroneid 
 * remote identification signals over Bluetooth.
 * 
 * Copyright (c) 2023 Steve Jack
 *
 * Apache 2.0 licence
 *
 * Parts of this program are taken from samples which are
 * Copyright (c) Intel Corporation 
 * or
 * Copyright (c) Nordic Semiconductor
 *
 */

#include <stddef.h>
#include <stdlib.h>
#include <stdio.h>
#include <string.h>
#include <time.h>

#include <zephyr/kernel.h>
#include <zephyr/types.h>
#include <zephyr/sys/printk.h>
#include <zephyr/sys/util.h>
#include <zephyr/device.h>

#include "opendroneid.h"

                        // 01234567890123456789
#define UAV_OPERATOR      "GBR-OP-ABCD12345678"
#define UAV_ID            "ZZZZH1234567"             // ~ => random generated
#define SELF_ID           "CAA UAS 7068"
#define UA_TYPE           ODID_UATYPE_NONE

#define EU_CATEGORY       ODID_CATEGORY_EU_SPECIFIC

#define AUTH_KEY          "0123456789abcdef"
#define AUTH_IV           "nopqrs"

// Added by Sandoche
#define DET_IPV6_BYTES    { 0x20,0x01,0x00,0x30,0x3f,0xf8,0x04,0x02,0x73,0xc6,0x58,0x1c,0xcc,0xde,0x39,0x98,0x00,0x00,0x00,0x00 }


#define GPS_PASSTHROUGH   1
#define TXT_BOTH_PORTS    0 // Sends error messages to both the serial and USB ports.
#define SPEKTRUM          0
#define REQ_SATS          8 // 8 for real use, 5 for indoor testing.
#define BATT_VOLTS        0
#define STATIC_BLE_MAC    1

// Unix epoch (seconds) at build time, injected by CMake. The board has no RTC, so this is the
// transmitter's real-time base; add uptime to approximate the current time.
#define BUILD_UNIX_TIME   1784382398UL

// National/regional variations.
#define ID_JAPAN          0
#define ID_USA            0

//

void      txt_message(const char *,const int,const int,const int); // Packages the message into a NMEA TXT.
void      debug_message(const char *);
float     battery_voltage(void);
int       crypto_init(uint8_t *);
#if ID_JAPAN
int       auth_japan(ODID_UAS_Data *,ODID_Message_encoded *,uint8_t *);
#endif

#ifdef __cplusplus

void      txt_message(const char *);

extern "C" {
#endif

  uint64_t  alt_unix_secs(int,int,int,int,int,int);

#ifdef __cplusplus
};
#endif

/*
 *
 */
```
